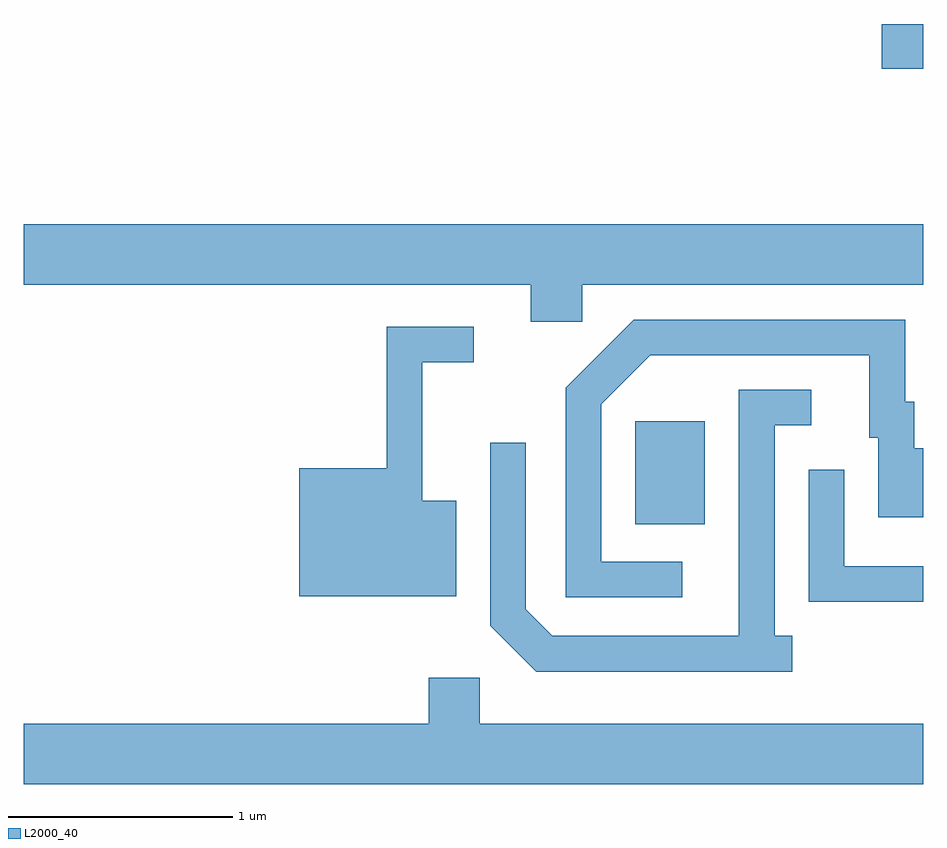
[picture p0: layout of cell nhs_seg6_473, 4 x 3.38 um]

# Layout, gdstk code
import gdstk
lib = gdstk.Library(unit=1e-6, precision=1e-09)
def R(c, l, rs):  # rectangles x0, y0, x1, y1
    for r in rs: c.add(gdstk.rectangle(r[:2], r[2:], *l))
def P(c, l, *ps):  # polygons
    for p in ps: c.add(gdstk.Polygon(p, *l))
L2000_40 = (2000, 40)

nhs_seg6_473 = lib.new_cell('nhs_seg6_473')
R(nhs_seg6_473, L2000_40, [(202.331,1537.871,202.639,1538.329), (203.426,1539.896,203.611,1540.094)])
P(nhs_seg6_473, L2000_40, [(202.094,1538.936),(203.611,1538.936),(203.611,1539.204),(199.611,1539.204),(199.611,1538.936),(201.866,1538.936),(201.866,1538.771),(202.094,1538.771)],
  [(202.538,1537.704),(202.179,1537.704),(202.179,1538.404),(202.397,1538.621),(203.371,1538.621),(203.371,1538.256),(203.411,1538.256),(203.411,1537.901),(203.611,1537.901),(203.611,1538.209),(203.569,1538.209),(203.569,1538.414),(203.529,1538.414),(203.529,1538.779),(202.324,1538.779),(202.021,1538.477),(202.021,1537.546),(202.538,1537.546)],
  [(201.534,1537.974),(201.384,1537.974),(201.384,1538.591),(201.613,1538.591),(201.613,1538.749),(201.226,1538.749),(201.226,1538.119),(200.836,1538.119),(200.836,1537.551),(201.534,1537.551)],
  [(203.028,1537.374),(202.949,1537.374),(202.949,1538.311),(203.113,1538.311),(203.113,1538.469),(202.791,1538.469),(202.791,1537.374),(201.962,1537.374),(201.844,1537.492),(201.844,1538.233),(201.686,1538.233),(201.686,1537.419),(201.889,1537.216),(203.028,1537.216)],
  [(203.611,1537.684),(203.259,1537.684),(203.259,1538.113),(203.101,1538.113),(203.101,1537.526),(203.611,1537.526)],
  [(203.611,1536.984),(201.639,1536.984),(201.639,1537.189),(201.411,1537.189),(201.411,1536.984),(199.611,1536.984),(199.611,1536.716),(203.611,1536.716)])

lib.write_gds('nhs_seg6_473.gds')
